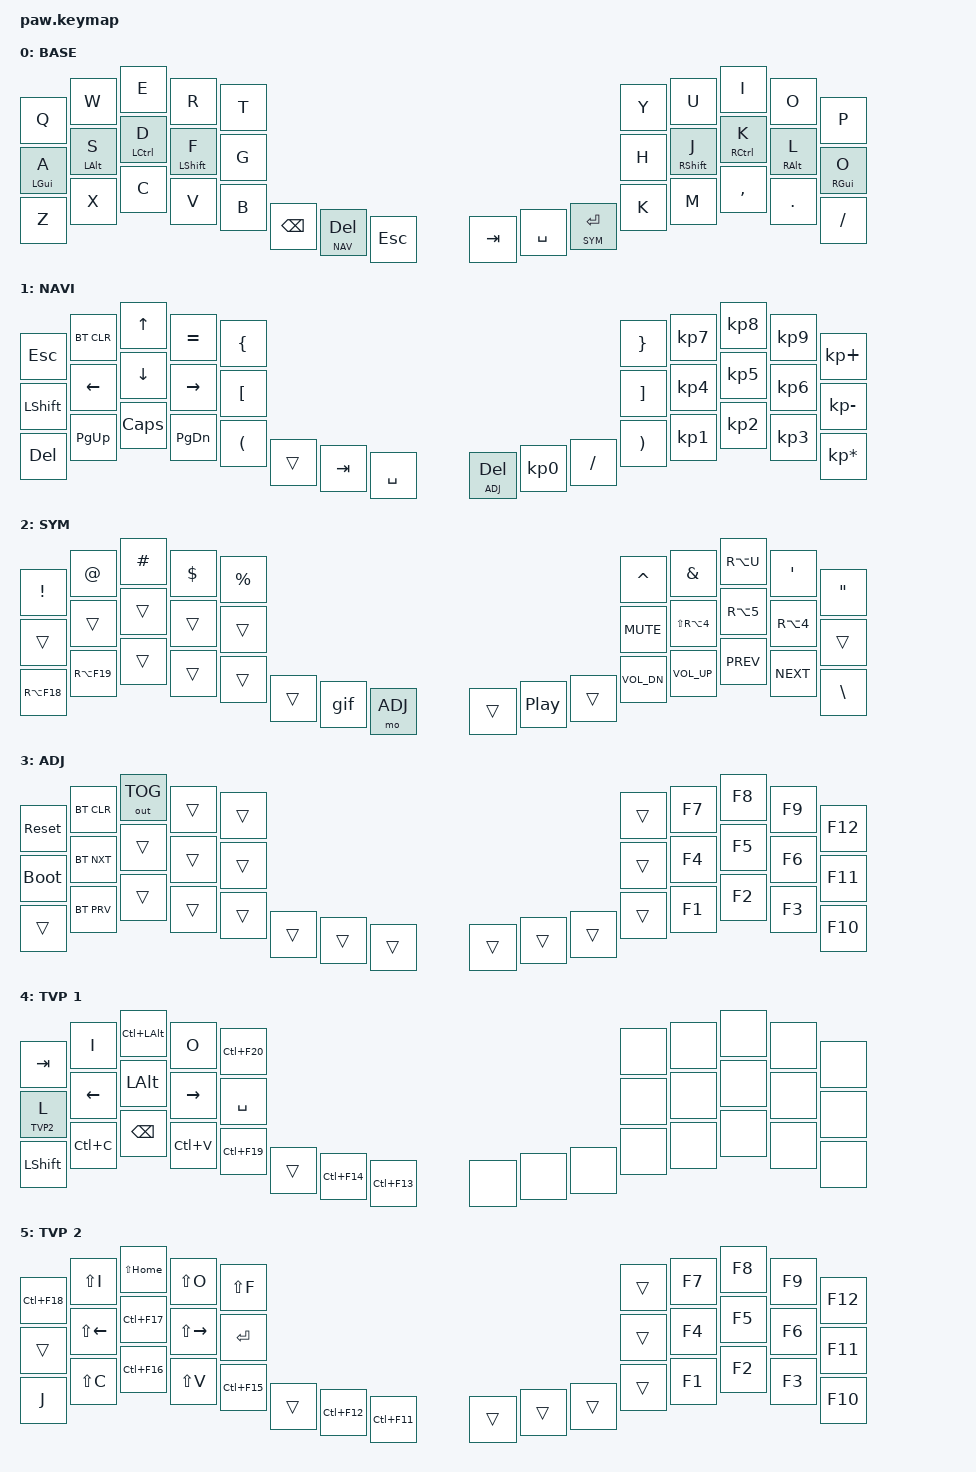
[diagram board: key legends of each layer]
#include <behaviors.dtsi>
#include <dt-bindings/zmk/keys.h>
#include <dt-bindings/zmk/bt.h>
#include <dt-bindings/zmk/outputs.h>
#include <physical_layouts.dtsi>


#define BASE 0
#define NAV  1
#define SYM  2
#define ADJ  3
#define TVP1 4
#define TVP2 5

&mt {
  quick-tap-ms = <100>;
  global-quick-tap;
  flavor = "tap-preferred";
  tapping-term-ms = <170>;
};

//&physical_layout0 {
//        compatible = "zmk,physical-layout";
//        display-name = "Paw";
//
//        kscan = <&kscan0>;
//        transform = <&default_transform>;
//
//        keys  //                     w   h    x    y     rot    rx    ry
//            = <&key_physical_attrs 100 100    0   62       0     0     0>
//            , <&key_physical_attrs 100 100  100   25       0     0     0>
//            , <&key_physical_attrs 100 100  200    0       0     0     0>
//            , <&key_physical_attrs 100 100  300   25       0     0     0>
//            , <&key_physical_attrs 100 100  400   37       0     0     0>
//            , <&key_physical_attrs 100 100 1200   37       0     0     0>
//            , <&key_physical_attrs 100 100 1300   25       0     0     0>
//            , <&key_physical_attrs 100 100 1400    0       0     0     0>
//            , <&key_physical_attrs 100 100 1500   25       0     0     0>
//            , <&key_physical_attrs 100 100 1600   62       0     0     0>
//            , <&key_physical_attrs 100 100    0  162       0     0     0>
//            , <&key_physical_attrs 100 100  100  125       0     0     0>
//            , <&key_physical_attrs 100 100  200  100       0     0     0>
//            , <&key_physical_attrs 100 100  300  125       0     0     0>
//            , <&key_physical_attrs 100 100  400  137       0     0     0>
//            , <&key_physical_attrs 100 100 1200  137       0     0     0>
//            , <&key_physical_attrs 100 100 1300  125       0     0     0>
//            , <&key_physical_attrs 100 100 1400  100       0     0     0>
//            , <&key_physical_attrs 100 100 1500  125       0     0     0>
//            , <&key_physical_attrs 100 100 1600  162       0     0     0>
//            , <&key_physical_attrs 100 100    0  262       0     0     0>
//            , <&key_physical_attrs 100 100  100  225       0     0     0>
//            , <&key_physical_attrs 100 100  200  200       0     0     0>
//            , <&key_physical_attrs 100 100  300  225       0     0     0>
//            , <&key_physical_attrs 100 100  400  237       0     0     0>
//            , <&key_physical_attrs 100 100 1200  237       0     0     0>
//            , <&key_physical_attrs 100 100 1300  225       0     0     0>
//            , <&key_physical_attrs 100 100 1400  200       0     0     0>
//            , <&key_physical_attrs 100 100 1500  225       0     0     0>
//            , <&key_physical_attrs 100 100 1600  262       0     0     0>
//            , <&key_physical_attrs 100 100  500  275       0     0     0>
//            , <&key_physical_attrs 100 100  600  287       0     0     0>
//            , <&key_physical_attrs 100 100  700  300       0     0     0>
//            , <&key_physical_attrs 100 100  900  300       0     0     0>
//            , <&key_physical_attrs 100 100 1000  287       0     0     0>
//            , <&key_physical_attrs 100 100 1100  275       0     0     0>
//            ;
//};

/ {
    default_layout: default_layout {
        compatible = "zmk,physical-layout";
        display-name = "Default Layout";
        transform = <&default_transform>;
        kscan = <&kscan0>;
        keys  //                     w   h    x    y     rot    rx    ry
            = <&key_physical_attrs 100 100    0   62       0     0     0>
            , <&key_physical_attrs 100 100  100   25       0     0     0>
            , <&key_physical_attrs 100 100  200    0       0     0     0>
            , <&key_physical_attrs 100 100  300   25       0     0     0>
            , <&key_physical_attrs 100 100  400   37       0     0     0>
            , <&key_physical_attrs 100 100 1200   37       0     0     0>
            , <&key_physical_attrs 100 100 1300   25       0     0     0>
            , <&key_physical_attrs 100 100 1400    0       0     0     0>
            , <&key_physical_attrs 100 100 1500   25       0     0     0>
            , <&key_physical_attrs 100 100 1600   62       0     0     0>
            , <&key_physical_attrs 100 100    0  162       0     0     0>
            , <&key_physical_attrs 100 100  100  125       0     0     0>
            , <&key_physical_attrs 100 100  200  100       0     0     0>
            , <&key_physical_attrs 100 100  300  125       0     0     0>
            , <&key_physical_attrs 100 100  400  137       0     0     0>
            , <&key_physical_attrs 100 100 1200  137       0     0     0>
            , <&key_physical_attrs 100 100 1300  125       0     0     0>
            , <&key_physical_attrs 100 100 1400  100       0     0     0>
            , <&key_physical_attrs 100 100 1500  125       0     0     0>
            , <&key_physical_attrs 100 100 1600  162       0     0     0>
            , <&key_physical_attrs 100 100    0  262       0     0     0>
            , <&key_physical_attrs 100 100  100  225       0     0     0>
            , <&key_physical_attrs 100 100  200  200       0     0     0>
            , <&key_physical_attrs 100 100  300  225       0     0     0>
            , <&key_physical_attrs 100 100  400  237       0     0     0>
            , <&key_physical_attrs 100 100 1200  237       0     0     0>
            , <&key_physical_attrs 100 100 1300  225       0     0     0>
            , <&key_physical_attrs 100 100 1400  200       0     0     0>
            , <&key_physical_attrs 100 100 1500  225       0     0     0>
            , <&key_physical_attrs 100 100 1600  262       0     0     0>
            , <&key_physical_attrs 100 100  500  275       0     0     0>
            , <&key_physical_attrs 100 100  600  287       0     0     0>
            , <&key_physical_attrs 100 100  700  300       0     0     0>
            , <&key_physical_attrs 100 100  900  300       0     0     0>
            , <&key_physical_attrs 100 100 1000  287       0     0     0>
            , <&key_physical_attrs 100 100 1100  275       0     0     0>
            ;
    };

    combos {
            compatible = "zmk,combos";
            combo_esc {
                timeout-ms = <50>;
                key-positions = <0 1>;
                bindings = <&kp ESC>;
            };
            combo_tvp {
                timeout-ms = <100>;
                key-positions = <11 12 13>;
                bindings = <&tog TVP1>;
            };
            combo_ctrl {
                timeout-ms = <50>;
                key-positions = <1 2>;
                bindings = <&kp LCTRL>;
            };
    };

    macros {
        gif: gif {
            label = "giphy";
            compatible = "zmk,behavior-macro";
            #binding-cells = <0>;
            bindings
                = <&macro_press &kp LSHFT>
                , <&macro_tap &kp N2>
                , <&macro_release &kp LSHFT>
                , <&macro_tap &kp G &kp I &kp F>
                ;
        };
    };

        keymap {
                compatible = "zmk,keymap";
// ▄▄▄▄▄▄▄▄▄▄▄▄▄▄▄▄▄▄▄▄▄▄▄▄▄▄▄▄▄▄▄▄▄▄▄▄▄▄▄▄▄▄▄▄▄▄▄▄▄▄▄▄▄▄▄▄▄▄▄▄▄▄▄▄▄▄▄▄▄▄▄▄▄▄▄▄▄▄▄▄▄▄▄▄▄▄▄▄▄▄▄▄▄▄▄▄▄▄▄▄▄▄▄▄▄▄▄▄▄▄▄▄▄▄▄▄▄▄▄▄▄▄▄▄▄▄▄▄▄▄▄▄▄▄▄▄▄▄▄▄▄▄▄▄▄▄▄▄▄▄▄▄▄▄▄▄▄▄▄▄▄▄▄▄▄▄▄▄▄▄▄▄▄▄▄▄▄▄▄▄▄▄▄▄▄▄
                base_layer {
//  ┏━━━━━━━━━━━━━━━━━━━━━━━━━━━━━━━━━━━━━━━┓
label= "BASE"                              ;
//  ┗━━━━━━━━━━━━━━━━━━━━━━━━━━━━━━━━━━━━━━━┛
//  ┏━━━━━━━━━━━┳━━━━━━━━━━━┳━━━━━━━━━━━┳━━━━━━━━━━━┳━━━━━━━━━━━┓                                                              ┏━━━━━━━━━━━┳━━━━━━━━━━━┳━━━━━━━━━━━┳━━━━━━━━━━━┳━━━━━━━━━━━┓
//  ┃     Q     ┃     W     ┃     E     ┃     R     ┃     T     ┃                                                              ┃     Y     ┃     U     ┃     I     ┃     O     ┃     P     ┃
//  ┣━━━━━━━━━━━╋━━━━━━━━━━━╋━━━━━━━━━━━╋━━━━━━━━━━━╋━━━━━━━━━━━┫                                                              ┣━━━━━━━━━━━╋━━━━━━━━━━━╋━━━━━━━━━━━╋━━━━━━━━━━━╋━━━━━━━━━━━┫
//  ┃     #A    ┃    @S     ┃    ^D     ┃     ↑F    ┃    G      ┃                                                              ┃     H     ┃    ↑J     ┃     ^K    ┃    @L     ┃     #O     ┃
//  ┣━━━━━━━━━━━╋━━━━━━━━━━━╋━━━━━━━━━━━╋━━━━━━━━━━━╋━━━━━━━━━━━┫                                                              ┣━━━━━━━━━━━╋━━━━━━━━━━━╋━━━━━━━━━━━╋━━━━━━━━━━━╋━━━━━━━━━━━┫
//  ┃     Z     ┃     X     ┃     C     ┃     V     ┃     B     ┃                                                              ┃     K     ┃     M     ┃     ,     ┃     .     ┃     /     ┃
//  ┗━━━━━━━━━━━┻━━━━━━━━━━━┻━━━━━━━━━━━┻━━━━━━━━━━━┻━━━━━━━━━━━┛                                                              ┗━━━━━━━━━━━┻━━━━━━━━━━━┻━━━━━━━━━━━┻━━━━━━━━━━━┻━━━━━━━━━━━┛
//                                                      ┏━━━━━━━━━━━┳━━━━━━━━━━━┳━━━━━━━━━━━┓     ┏━━━━━━━━━━━┳━━━━━━━━━━━┳━━━━━━━━━━━┓
//                                                      ┃    BSPC   ┃    DEL    ┃    ESC    ┃     ┃   TAB     ┃    SPC    ┃   ENTER   ┃
//                                                      ┗━━━━━━━━━━━┻━━━━━━━━━━━┻━━━━━━━━━━━┛     ┗━━━━━━━━━━━┻━━━━━━━━━━━┻━━━━━━━━━━━┛
 bindings = <
//  ╷           ╷           ╷           ╷           ╷           ╷                                                              ╷           ╷           ╷           ╷           ╷           ╷
    &kp Q       &kp W       &kp E       &kp R       &kp T                                                                      &kp Y       &kp U       &kp I       &kp O       &kp P
    &mt LGUI A  &mt LALT S  &mt LCTRL D &mt LSHFT F &kp G                                                                      &kp H       &mt RSHFT J &mt RCTRL K &mt RALT L  &mt RGUI O
    &kp Z       &kp X       &kp C       &kp V       &kp B                                                                      &kp K       &kp M       &kp COMMA   &kp DOT     &kp FSLH

                                                         &kp BSPC    &lt NAV DEL &kp ESC          &kp TAB      &kp SPC     &lt SYM RET
                       >;
                };
// ▄▄▄▄▄▄▄▄▄▄▄▄▄▄▄▄▄▄▄▄▄▄▄▄▄▄▄▄▄▄▄▄▄▄▄▄▄▄▄▄▄▄▄▄▄▄▄▄▄▄▄▄▄▄▄▄▄▄▄▄▄▄▄▄▄▄▄▄▄▄▄▄▄▄▄▄▄▄▄▄▄▄▄▄▄▄▄▄▄▄▄▄▄▄▄▄▄▄▄▄▄▄▄▄▄▄▄▄▄▄▄▄▄▄▄▄▄▄▄▄▄▄▄▄▄▄▄▄▄▄▄▄▄▄▄▄▄▄▄▄▄▄▄▄▄▄▄▄▄▄▄▄▄▄▄▄▄▄▄▄▄▄▄▄▄▄▄▄▄▄▄▄▄▄▄▄▄▄▄▄▄▄▄▄▄▄
                nav_layer {
//  ┏━━━━━━━━━━━━━━━━━━━━━━━━━━━━━━━━━━━━━━━┓
label= "NAVI"                              ;
//  ┗━━━━━━━━━━━━━━━━━━━━━━━━━━━━━━━━━━━━━━━┛
//  ┏━━━━━━━━━━━┳━━━━━━━━━━━┳━━━━━━━━━━━┳━━━━━━━━━━━┳━━━━━━━━━━━┓                                                              ┏━━━━━━━━━━━┳━━━━━━━━━━━┳━━━━━━━━━━━┳━━━━━━━━━━━┳━━━━━━━━━━━┓
//  ┃   ESC     ┃           ┃     UP    ┃     =     ┃     {     ┃                                                              ┃     }     ┃     7     ┃     8     ┃     9     ┃     +     ┃
//  ┣━━━━━━━━━━━╋━━━━━━━━━━━╋━━━━━━━━━━━╋━━━━━━━━━━━╋━━━━━━━━━━━┫                                                              ┣━━━━━━━━━━━╋━━━━━━━━━━━╋━━━━━━━━━━━╋━━━━━━━━━━━╋━━━━━━━━━━━┫
//  ┃   SHIFT   ┃   LEFT    ┃    DOWN   ┃   RIGHT   ┃     [     ┃                                                              ┃     ]     ┃     4     ┃     5     ┃     6     ┃     -     ┃
//  ┣━━━━━━━━━━━╋━━━━━━━━━━━╋━━━━━━━━━━━╋━━━━━━━━━━━╋━━━━━━━━━━━┫                                                              ┣━━━━━━━━━━━╋━━━━━━━━━━━╋━━━━━━━━━━━╋━━━━━━━━━━━╋━━━━━━━━━━━┫
//  ┃   DEL     ┃   P UP    ┃  C LOCK   ┃  P DOWN   ┃     (     ┃                                                              ┃     )     ┃     1     ┃     2     ┃     3     ┃     *     ┃
//  ┗━━━━━━━━━━━┻━━━━━━━━━━━┻━━━━━━━━━━━┻━━━━━━━━━━━┻━━━━━━━━━━━┛                                                              ┗━━━━━━━━━━━┻━━━━━━━━━━━┻━━━━━━━━━━━┻━━━━━━━━━━━┻━━━━━━━━━━━┛
//                                                      ┏━━━━━━━━━━━┳━━━━━━━━━━━┳━━━━━━━━━━━┓     ┏━━━━━━━━━━━┳━━━━━━━━━━━┳━━━━━━━━━━━┓
//                                                      ┃           ┃    TAB    ┃    SPC    ┃     ┃    DEL    ┃     0     ┃     /     ┃
//                                                      ┗━━━━━━━━━━━┻━━━━━━━━━━━┻━━━━━━━━━━━┛     ┗━━━━━━━━━━━┻━━━━━━━━━━━┻━━━━━━━━━━━┛
 bindings = <
//  ╷           ╷           ╷           ╷           ╷           ╷                                                              ╷           ╷           ╷           ╷           ╷           ╷
    &kp ESC     &bt BT_CLR  &kp UP      &kp EQUAL    &kp LBRC                                                                  &kp RBRC    &kp KP_N7   &kp KP_N8   &kp KP_N9   &kp KP_PLUS
    &kp LSHFT   &kp LEFT    &kp DOWN    &kp RIGHT    &kp LBKT                                                                  &kp RBKT    &kp KP_N4   &kp KP_N5   &kp KP_N6   &kp KP_MINUS
    &kp DEL     &kp PG_UP   &kp CAPS    &kp PG_DN    &kp LPAR                                                                  &kp RPAR    &kp KP_N1   &kp KP_N2   &kp KP_N3   &kp KP_MULTIPLY

                                                         &trans       &kp TAB     &kp SPACE        &lt ADJ DEL &kp KP_N0   &kp FSLH
                        >;
                };

// ▄▄▄▄▄▄▄▄▄▄▄▄▄▄▄▄▄▄▄▄▄▄▄▄▄▄▄▄▄▄▄▄▄▄▄▄▄▄▄▄▄▄▄▄▄▄▄▄▄▄▄▄▄▄▄▄▄▄▄▄▄▄▄▄▄▄▄▄▄▄▄▄▄▄▄▄▄▄▄▄▄▄▄▄▄▄▄▄▄▄▄▄▄▄▄▄▄▄▄▄▄▄▄▄▄▄▄▄▄▄▄▄▄▄▄▄▄▄▄▄▄▄▄▄▄▄▄▄▄▄▄▄▄▄▄▄▄▄▄▄▄▄▄▄▄▄▄▄▄▄▄▄▄▄▄▄▄▄▄▄▄▄▄▄▄▄▄▄▄▄▄▄▄▄▄▄▄▄▄▄▄▄▄▄▄▄


                sim_layer {
// ┏━━━━━━━━━━━━━━━━━━━━━━━━━━━━━━━━━━━━━━━┓
label= "SYM"                               ;
// ┗━━━━━━━━━━━━━━━━━━━━━━━━━━━━━━━━━━━━━━━┛
//  ┏━━━━━━━━━━━┳━━━━━━━━━━━┳━━━━━━━━━━━┳━━━━━━━━━━━┳━━━━━━━━━━━┓                                                              ┏━━━━━━━━━━━┳━━━━━━━━━━━┳━━━━━━━━━━━┳━━━━━━━━━━━┳━━━━━━━━━━━┓
//  ┃     !     ┃     @     ┃     #     ┃     $     ┃     %     ┃                                                              ┃     ˆ     ┃     &     ┃     Ü     ┃     '     ┃     "     ┃
//  ┣━━━━━━━━━━━╋━━━━━━━━━━━╋━━━━━━━━━━━╋━━━━━━━━━━━╋━━━━━━━━━━━┫                                                              ┣━━━━━━━━━━━╋━━━━━━━━━━━╋━━━━━━━━━━━╋━━━━━━━━━━━╋━━━━━━━━━━━┫
//  ┃           ┃           ┃           ┃           ┃           ┃                                                              ┃   MUTE    ┃   YEN     ┃   EURO    ┃  POUND    ┃     Ö     ┃
//  ┣━━━━━━━━━━━╋━━━━━━━━━━━╋━━━━━━━━━━━╋━━━━━━━━━━━╋━━━━━━━━━━━┫                                                              ┣━━━━━━━━━━━╋━━━━━━━━━━━╋━━━━━━━━━━━╋━━━━━━━━━━━╋━━━━━━━━━━━┫
//  ┃  EMAIL1   ┃  EMAIL2   ┃           ┃           ┃           ┃                                                              ┃   VOL-    ┃   VOL+    ┃   LAST    ┃   NEXT    ┃     \     ┃
//  ┗━━━━━━━━━━━┻━━━━━━━━━━━┻━━━━━━━━━━━┻━━━━━━━━━━━┻━━━━━━━━━━━┛                                                              ┗━━━━━━━━━━━┻━━━━━━━━━━━┻━━━━━━━━━━━┻━━━━━━━━━━━┻━━━━━━━━━━━┛
//                                                      ┏━━━━━━━━━━━┳━━━━━━━━━━━┳━━━━━━━━━━━┓     ┏━━━━━━━━━━━┳━━━━━━━━━━━┳━━━━━━━━━━━┓
//                                                      ┃           ┃    GIF    ┃    ADJ    ┃     ┃           ┃           ┃           ┃
//                                                      ┗━━━━━━━━━━━┻━━━━━━━━━━━┻━━━━━━━━━━━┛     ┗━━━━━━━━━━━┻━━━━━━━━━━━┻━━━━━━━━━━━┛
 bindings = <
//  ╷           ╷           ╷           ╷           ╷           ╷                                                              ╷           ╷           ╷           ╷           ╷           ╷
                &kp EXCL    &kp AT      &kp HASH    &kp DLLR    &kp PRCNT                                                       &kp CARET   &kp AMPS    &kp RA(U)   &kp SQT     &kp DQT
                &trans      &trans      &trans      &trans      &trans                                                          &kp C_MUTE  &kp LS(RA(N4)) &kp RA(N5) &kp RA(N4)  &trans
                &kp RA(F18) &kp RA(F19) &trans      &trans      &trans                                                          &kp C_VOL_DN &kp C_VOL_UP &kp C_PREV &kp C_NEXT  &kp BSLH
                                                        &trans      &gif        &mo ADJ            &trans      &kp C_PP    &trans
                        >;
                };

// ▄▄▄▄▄▄▄▄▄▄▄▄▄▄▄▄▄▄▄▄▄▄▄▄▄▄▄▄▄▄▄▄▄▄▄▄▄▄▄▄▄▄▄▄▄▄▄▄▄▄▄▄▄▄▄▄▄▄▄▄▄▄▄▄▄▄▄▄▄▄▄▄▄▄▄▄▄▄▄▄▄▄▄▄▄▄▄▄▄▄▄▄▄▄▄▄▄▄▄▄▄▄▄▄▄▄▄▄▄▄▄▄▄▄▄▄▄▄▄▄▄▄▄▄▄▄▄▄▄▄▄▄▄▄▄▄▄▄▄▄▄▄▄▄▄▄▄▄▄▄▄▄▄▄▄▄▄▄▄▄▄▄▄▄▄▄▄▄▄▄▄▄▄▄▄▄▄▄▄▄▄▄▄▄▄▄


                adjust_layer {
// ┏━━━━━━━━━━━━━━━━━━━━━━━━━━━━━━━━━━━━━━━┓
label= "ADJ"                               ;
// ┗━━━━━━━━━━━━━━━━━━━━━━━━━━━━━━━━━━━━━━━┛
//  ┏━━━━━━━━━━━┳━━━━━━━━━━━┳━━━━━━━━━━━┳━━━━━━━━━━━┳━━━━━━━━━━━┓                                                              ┏━━━━━━━━━━━┳━━━━━━━━━━━┳━━━━━━━━━━━┳━━━━━━━━━━━┳━━━━━━━━━━━┓
//  ┃   RESET   ┃ BT CLEAR  ┃  OUT TOG  ┃           ┃           ┃                                                              ┃           ┃    F7     ┃    F8     ┃    F9     ┃    F12    ┃
//  ┣━━━━━━━━━━━╋━━━━━━━━━━━╋━━━━━━━━━━━╋━━━━━━━━━━━╋━━━━━━━━━━━┫                                                              ┣━━━━━━━━━━━╋━━━━━━━━━━━╋━━━━━━━━━━━╋━━━━━━━━━━━╋━━━━━━━━━━━┫
//  ┃ BOOTLOAD  ┃ BT NEXT   ┃           ┃           ┃           ┃                                                              ┃           ┃    F4     ┃    F5     ┃    F6     ┃    F11    ┃
//  ┣━━━━━━━━━━━╋━━━━━━━━━━━╋━━━━━━━━━━━╋━━━━━━━━━━━╋━━━━━━━━━━━┫                                                              ┣━━━━━━━━━━━╋━━━━━━━━━━━╋━━━━━━━━━━━╋━━━━━━━━━━━╋━━━━━━━━━━━╋
//  ┃           ┃ BT PREV   ┃           ┃           ┃           ┃                                                              ┃           ┃    F1     ┃    F2     ┃    F3     ┃    F10    ┃
//  ┗━━━━━━━━━━━┻━━━━━━━━━━━┻━━━━━━━━━━━┻━━━━━━━━━━━┻━━━━━━━━━━━┛                                                              ┗━━━━━━━━━━━┻━━━━━━━━━━━┻━━━━━━━━━━━┻━━━━━━━━━━━┻━━━━━━━━━━━┛
//                                                      ┏━━━━━━━━━━━┳━━━━━━━━━━━┳━━━━━━━━━━━┓     ┏━━━━━━━━━━━┳━━━━━━━━━━━┳━━━━━━━━━━━┓
//                                                      ┃           ┃           ┃           ┃     ┃           ┃           ┃           ┃
//                                                      ┗━━━━━━━━━━━┻━━━━━━━━━━━┻━━━━━━━━━━━┛     ┗━━━━━━━━━━━┻━━━━━━━━━━━┻━━━━━━━━━━━┛
 bindings = <
//  ╷           ╷           ╷           ╷           ╷           ╷                                                              ╷           ╷           ╷           ╷           ╷           ╷
     &sys_reset  &bt BT_CLR &out OUT_TOG &trans      &trans                                                                     &trans      &kp F7      &kp F8      &kp F9      &kp F12
     &bootloader &bt BT_NXT  &trans      &trans      &trans                                                                     &trans      &kp F4      &kp F5      &kp F6      &kp F11
     &trans      &bt BT_PRV  &trans      &trans      &trans                                                                     &trans      &kp F1      &kp F2      &kp F3      &kp F10
                                                        &trans      &trans      &trans             &trans      &trans      &trans
                        >;
                };

// ▄▄▄▄▄▄▄▄▄▄▄▄▄▄▄▄▄▄▄▄▄▄▄▄▄▄▄▄▄▄▄▄▄▄▄▄▄▄▄▄▄▄▄▄▄▄▄▄▄▄▄▄▄▄▄▄▄▄▄▄▄▄▄▄▄▄▄▄▄▄▄▄▄▄▄▄▄▄▄▄▄▄▄▄▄▄▄▄▄▄▄▄▄▄▄▄▄▄▄▄▄▄▄▄▄▄▄▄▄▄▄▄▄▄▄▄▄▄▄▄▄▄▄▄▄▄▄▄▄▄▄▄▄▄▄▄▄▄▄▄▄▄▄▄▄▄▄▄▄▄▄▄▄▄▄▄▄▄▄▄▄▄▄▄▄▄▄▄▄▄▄▄▄▄▄▄▄▄▄▄▄▄▄▄▄▄


                tvp1_layer {
// ┏━━━━━━━━━━━━━━━━━━━━━━━━━━━━━━━━━━━━━━━┓
label= "TVP 1"                             ;
// ┗━━━━━━━━━━━━━━━━━━━━━━━━━━━━━━━━━━━━━━━┛
//  ┏━━━━━━━━━━━┳━━━━━━━━━━━┳━━━━━━━━━━━┳━━━━━━━━━━━┳━━━━━━━━━━━┓                                                              ┏━━━━━━━━━━━┳━━━━━━━━━━━┳━━━━━━━━━━━┳━━━━━━━━━━━┳━━━━━━━━━━━┓
//  ┃ NEXT FILE ┃ MARK IN   ┃ ROTATE    ┃ MARK OUT  ┃ SHOW SNAP ┃                                                              ┃           ┃           ┃           ┃           ┃           ┃
//  ┣━━━━━━━━━━━╋━━━━━━━━━━━╋━━━━━━━━━━━╋━━━━━━━━━━━╋━━━━━━━━━━━┫                                                              ┣━━━━━━━━━━━╋━━━━━━━━━━━╋━━━━━━━━━━━╋━━━━━━━━━━━╋━━━━━━━━━━━┫
//  ┃ TVP II    ┃ LEFT      ┃ PAN       ┃ RIGHT     ┃ PLAY/FLIP ┃                                                              ┃           ┃           ┃           ┃           ┃           ┃
//  ┣━━━━━━━━━━━╋━━━━━━━━━━━╋━━━━━━━━━━━╋━━━━━━━━━━━╋━━━━━━━━━━━┫                                                              ┣━━━━━━━━━━━╋━━━━━━━━━━━╋━━━━━━━━━━━╋━━━━━━━━━━━╋━━━━━━━━━━━┫
//  ┃ SHIFT     ┃ COPY      ┃ DELETE    ┃ PASTE     ┃ IMG MARK  ┃                                                              ┃           ┃           ┃           ┃           ┃           ┃
//  ┗━━━━━━━━━━━┻━━━━━━━━━━━┻━━━━━━━━━━━┻━━━━━━━━━━━┻━━━━━━━━━━━┛                                                              ┗━━━━━━━━━━━┻━━━━━━━━━━━┻━━━━━━━━━━━┻━━━━━━━━━━━┻━━━━━━━━━━━┛
//                                                      ┏━━━━━━━━━━━┳━━━━━━━━━━━┳━━━━━━━━━━━┓     ┏━━━━━━━━━━━┳━━━━━━━━━━━┳━━━━━━━━━━━┓
//                                                      ┃           ┃ UNDO/SAVE ┃  SEL/MOV  ┃     ┃           ┃           ┃           ┃
//                                                      ┗━━━━━━━━━━━┻━━━━━━━━━━━┻━━━━━━━━━━━┛     ┗━━━━━━━━━━━┻━━━━━━━━━━━┻━━━━━━━━━━━┛
 bindings = <
//  ╷           ╷           ╷           ╷           ╷           ╷                                                              ╷           ╷           ╷           ╷           ╷           ╷
     &kp TAB     &kp I       &kp LC(LALT) &kp O      &kp LC(F20)                                                                &none       &none       &none       &none       &none
     &lt TVP2 L  &kp LEFT    &kp LALT    &kp RIGHT   &kp SPACE                                                                  &none       &none       &none       &none       &none
     &kp LSHFT   &kp LC(C)   &kp BSPC    &kp LC(V)   &kp LC(F19)                                                                &none       &none       &none       &none       &none
                                                         &trans       &kp LC(F14) &kp LC(F13)       &none       &none       &none
                        >;
                };

// ▄▄▄▄▄▄▄▄▄▄▄▄▄▄▄▄▄▄▄▄▄▄▄▄▄▄▄▄▄▄▄▄▄▄▄▄▄▄▄▄▄▄▄▄▄▄▄▄▄▄▄▄▄▄▄▄▄▄▄▄▄▄▄▄▄▄▄▄▄▄▄▄▄▄▄▄▄▄▄▄▄▄▄▄▄▄▄▄▄▄▄▄▄▄▄▄▄▄▄▄▄▄▄▄▄▄▄▄▄▄▄▄▄▄▄▄▄▄▄▄▄▄▄▄▄▄▄▄▄▄▄▄▄▄▄▄▄▄▄▄▄▄▄▄▄▄▄▄▄▄▄▄▄▄▄▄▄▄▄▄▄▄▄▄▄▄▄▄▄▄▄▄▄▄▄▄▄▄▄▄▄▄▄▄▄▄


                tvp2_layer {
// ┏━━━━━━━━━━━━━━━━━━━━━━━━━━━━━━━━━━━━━━━┓
label= "TVP 2"                             ;
// ┗━━━━━━━━━━━━━━━━━━━━━━━━━━━━━━━━━━━━━━━┛
//  ┏━━━━━━━━━━━┳━━━━━━━━━━━┳━━━━━━━━━━━┳━━━━━━━━━━━┳━━━━━━━━━━━┓                                                              ┏━━━━━━━━━━━┳━━━━━━━━━━━┳━━━━━━━━━━━┳━━━━━━━━━━━┳━━━━━━━━━━━┓
//  ┃ SOLO      ┃ TOGGLE IN ┃ RESET ROT ┃ TOGGLE OUT┃ TAKE SNAP ┃                                                              ┃           ┃           ┃           ┃           ┃           ┃
//  ┣━━━━━━━━━━━╋━━━━━━━━━━━╋━━━━━━━━━━━╋━━━━━━━━━━━╋━━━━━━━━━━━┫                                                              ┣━━━━━━━━━━━╋━━━━━━━━━━━╋━━━━━━━━━━━╋━━━━━━━━━━━╋━━━━━━━━━━━┫
//  ┃ ---       ┃ LAST KEY  ┃ NEW KEY   ┃ NEXT KEY  ┃ ENTER     ┃                                                              ┃           ┃           ┃           ┃           ┃           ┃
//  ┣━━━━━━━━━━━╋━━━━━━━━━━━╋━━━━━━━━━━━╋━━━━━━━━━━━╋━━━━━━━━━━━┫                                                              ┣━━━━━━━━━━━╋━━━━━━━━━━━╋━━━━━━━━━━━╋━━━━━━━━━━━╋━━━━━━━━━━━┫
//  ┃ CPY2BRUSH ┃ DEL HEAD  ┃ PSTinPLACE┃ BOOK MARK ┃                                                                          ┃           ┃           ┃           ┃           ┃           ┃
//  ┗━━━━━━━━━━━┻━━━━━━━━━━━┻━━━━━━━━━━━┻━━━━━━━━━━━┻━━━━━━━━━━━┛                                                              ┗━━━━━━━━━━━┻━━━━━━━━━━━┻━━━━━━━━━━━┻━━━━━━━━━━━┻━━━━━━━━━━━┛
//                                                      ┏━━━━━━━━━━━┳━━━━━━━━━━━┳━━━━━━━━━━━┓     ┏━━━━━━━━━━━┳━━━━━━━━━━━┳━━━━━━━━━━━┓
//                                                      ┃           ┃ REDO/SAV1 ┃TRANS/WARP ┃     ┃           ┃           ┃           ┃
//                                                      ┗━━━━━━━━━━━┻━━━━━━━━━━━┻━━━━━━━━━━━┛     ┗━━━━━━━━━━━┻━━━━━━━━━━━┻━━━━━━━━━━━┛
 bindings = <
//  ╷           ╷           ╷           ╷           ╷           ╷                                                              ╷           ╷           ╷           ╷           ╷           ╷

    &kp LC(F18) &kp LS(I)  &kp LS(HOME) &kp LS(O)   &kp LS(F)                                                                   &trans      &kp F7      &kp F8      &kp F9      &kp F12
    &trans      &kp LS(LEFT) &kp LC(F17) &kp LS(RIGHT) &kp RET                                                                  &trans      &kp F4      &kp F5      &kp F6      &kp F11
    &kp J       &kp LS(C)   &kp LC(F16) &kp LS(V)   &kp LC(F15)                                                                 &trans      &kp F1      &kp F2      &kp F3      &kp F10
                                                        &trans      &kp LC(F12) &kp LC(F11)        &trans      &trans      &trans
                        >;
                };
        };
};


